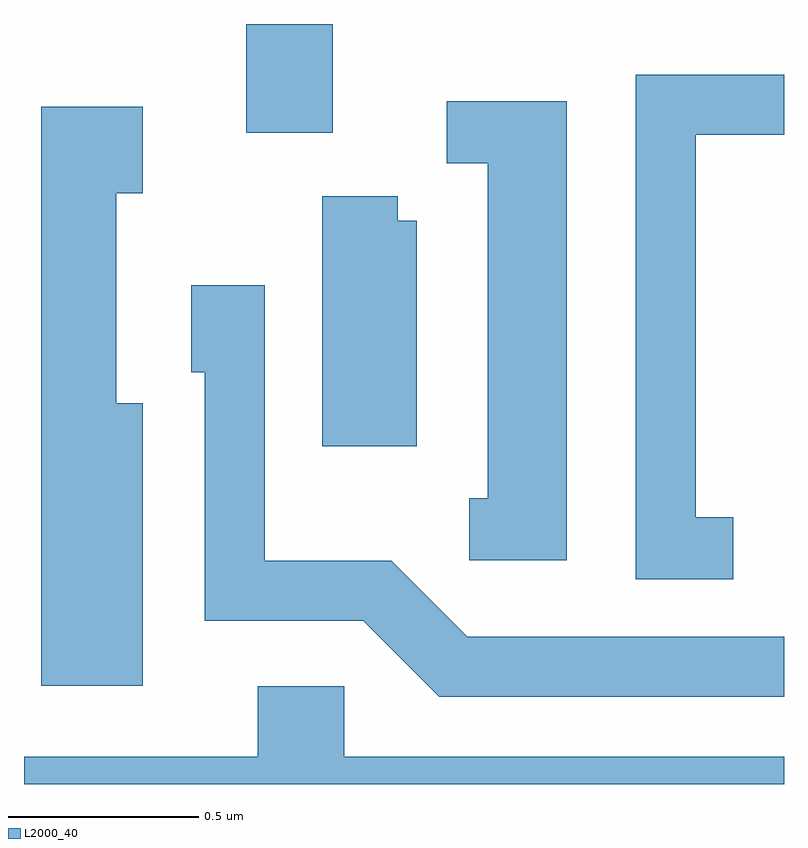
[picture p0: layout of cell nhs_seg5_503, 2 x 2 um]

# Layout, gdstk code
import gdstk
lib = gdstk.Library(unit=1e-6, precision=1e-09)
def R(c, l, rs):  # rectangles x0, y0, x1, y1
    for r in rs: c.add(gdstk.rectangle(r[:2], r[2:], *l))
def P(c, l, *ps):  # polygons
    for p in ps: c.add(gdstk.Polygon(p, *l))
L2000_40 = (2000, 40)

nhs_seg5_503 = lib.new_cell('nhs_seg5_503')
R(nhs_seg5_503, L2000_40, [(189.196,1489.786,189.424,1490.072)])
P(nhs_seg5_503, L2000_40, [(190.478,1488.774),(190.379,1488.774),(190.379,1489.781),(190.611,1489.781),(190.611,1489.939),(190.221,1489.939),(190.221,1488.611),(190.478,1488.611)],
  [(190.039,1489.869),(189.723,1489.869),(189.723,1489.706),(189.831,1489.706),(189.831,1488.824),(189.783,1488.824),(189.783,1488.661),(190.039,1488.661)],
  [(188.924,1489.074),(188.854,1489.074),(188.854,1489.626),(188.924,1489.626),(188.924,1489.854),(188.656,1489.854),(188.656,1488.331),(188.924,1488.331)],
  [(189.644,1489.554),(189.594,1489.554),(189.594,1489.619),(189.396,1489.619),(189.396,1488.961),(189.644,1488.961)],
  [(190.611,1488.459),(189.777,1488.459),(189.577,1488.659),(189.244,1488.659),(189.244,1489.384),(189.051,1489.384),(189.051,1489.156),(189.086,1489.156),(189.086,1488.501),(189.504,1488.501),(189.704,1488.301),(190.611,1488.301)],
  [(190.611,1488.144),(189.454,1488.144),(189.454,1488.329),(189.226,1488.329),(189.226,1488.144),(188.611,1488.144),(188.611,1488.072),(190.611,1488.072)])

lib.write_gds('nhs_seg5_503.gds')
